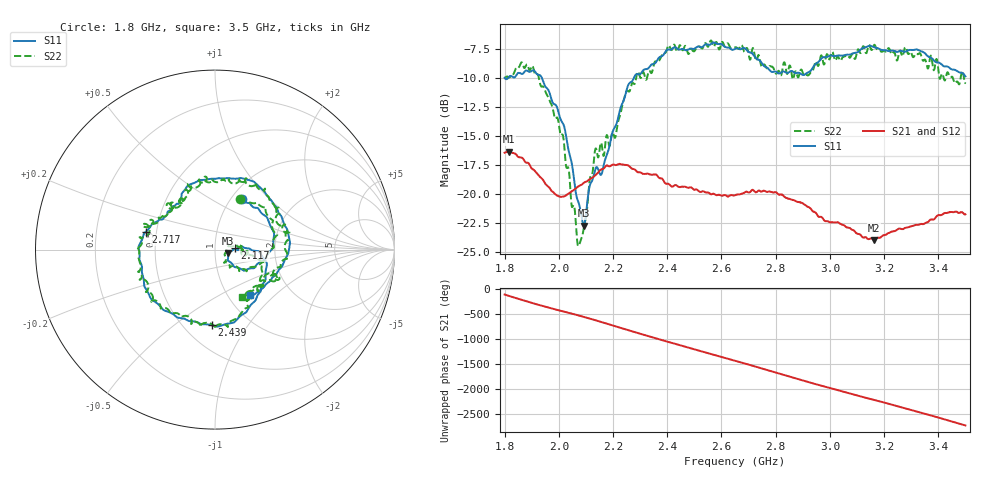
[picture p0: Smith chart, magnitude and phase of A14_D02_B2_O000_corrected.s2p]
! Created with skrf 1.9.0 (http://scikit-rf.org).
# Hz S RI R 50.0
!freq ReS11 ImS11 ReS21 ImS21 ReS12 ImS12 ReS22 ImS22
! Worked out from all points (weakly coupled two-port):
!   1601 points, 1.8 GHz to 3.5 GHz, reference 50 ohm
!   highest |S21| = -16.37 dB at 1.817 GHz (marker M1); lowest = -24.0 dB at 3.163 GHz (marker M2)
!   lowest |S11| = -22.7 dB at 2.092 GHz (marker M3), VSWR 1.16, Z = 57.5 - j2.37 ohm
!   |S11| at or under -10 dB: 1.8 GHz to 1.813 GHz (12.51 MHz wide, 0.692 % of centre); 1.938 GHz to 2.277 GHz (339.4 MHz wide, 16.1 % of centre)
!   |S22| runs from -24.5 to -6.8 dB; largest |S21 - S12| = 0.0026
!   S11 on the Smith chart (normalised r, x): 1.8 GHz: 1.12, +0.70; 2.117 GHz: 1.25, +0.02; 2.439 GHz: 0.68, -0.69; 2.717 GHz: 0.43, +0.10; 3.5 GHz: 1.26, -0.72
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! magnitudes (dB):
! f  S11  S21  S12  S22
! 1.8 GHz  -10.0  -16.4  -16.4  -10.0
! 1.817 GHz  -9.9  -16.4  -16.4  -10.0
! 1.902 GHz  -9.4  -17.8  -17.8  -9.0
! 1.966 GHz  -11.3  -19.5  -19.6  -11.9
! 2.021 GHz  -14.3  -20.2  -20.2  -16.1
! 2.07 GHz  -20.6  -19.4  -19.4  -24.4
! 2.084 GHz  -21.9  -19.2  -19.2  -23.8
! 2.092 GHz  -22.7  -19.0  -19.1  -22.9
! 2.117 GHz  -19.1  -18.7  -18.7  -18.5
! 2.135 GHz  -17.9  -18.4  -18.4  -16.1
! 2.16 GHz  -18.1  -17.9  -17.8  -16.1
! 2.209 GHz  -14.2  -17.5  -17.5  -15.1
! 2.258 GHz  -10.5  -17.6  -17.6  -11.2
! 2.367 GHz  -8.3  -18.5  -18.5  -8.6
! 2.439 GHz  -7.5  -19.3  -19.4  -7.7
! 2.65 GHz  -7.5  -20.1  -20.1  -7.4
! 2.717 GHz  -8.0  -19.7  -19.6  -7.4
! 2.787 GHz  -9.5  -19.8  -19.8  -9.0
! 2.934 GHz  -9.2  -21.4  -21.4  -9.5
! 3.163 GHz  -7.3  -24.0  -23.9  -7.2
! 3.217 GHz  -7.7  -23.4  -23.3  -7.4
! 3.5 GHz  -9.9  -21.8  -21.7  -10.4
